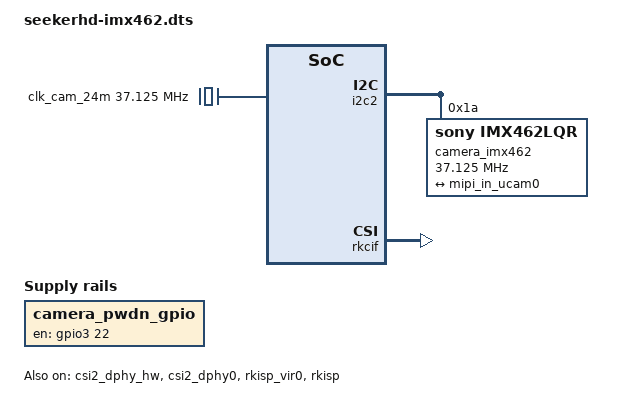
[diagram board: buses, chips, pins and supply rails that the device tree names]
/dts-v1/;
/plugin/;
/ {
	metadata {
		title = "Enable IMX462";
		compatible = "radxa,zero3";
		category = "camera";
		exclusive = "csi2_dphy0";
		description = "Enable IMX462";
	};
};

&{/} {
	clk_cam_24m: external-camera-clock-24m {
		status = "okay";
		compatible = "fixed-clock";
		clock-frequency = <37125000>;
		clock-output-names = "clk_cam_24m";
		#clock-cells = <0>;
	};

	camera_pwdn_gpio: camera-pwdn-gpio {
		status = "okay";
		compatible = "regulator-fixed";
		regulator-name = "camera_pwdn_gpio";
		regulator-always-on;
		regulator-boot-on;
		enable-active-high;
		gpio = <&gpio3 22 0>;
	};
};

&i2c2 {
	status = "okay";
	pinctrl-names = "default";
	pinctrl-0 = <&i2c2m1_xfer>;
	#address-cells = <1>;
	#size-cells = <0>;

	camera_imx462: camera-imx462@1a {
		status = "okay";
		compatible = "sony,imx462lqr";
		reg = <0x1a>;
		clocks = <&clk_cam_24m>;
		clock-frequency = <37125000>;
		clock-names = "xclk";
		rockchip,camera-module-index = <0>;
		rockchip,camera-module-facing = "back";
		rockchip,camera-module-name = "IMX462";
		rockchip,camera-module-lens-name = "default";

		port {
			ucam_out0: endpoint {
				remote-endpoint = <&mipi_in_ucam0>;
				clock-lanes = <0>;
				data-lanes = <1 2>;
				link-frequencies = /bits/ 64 <445500000 297000000>; 
			};
		};
	};
};

&csi2_dphy_hw {
	status = "okay";
};

&csi2_dphy0 {
	status = "okay";

	ports {
		#address-cells = <1>;
		#size-cells = <0>;

		port@0 {
			reg = <0>;
			#address-cells = <1>;
			#size-cells = <0>;

			mipi_in_ucam0: endpoint@1 {
				reg = <1>;
				remote-endpoint = <&ucam_out0>;
				clock-lanes = <0>;
				data-lanes = <1 2>;
			};
		};

		port@1 {
			reg = <1>;
			#address-cells = <1>;
			#size-cells = <0>;

			dphy0_out: endpoint@1 {
				reg = <1>;
				remote-endpoint = <&isp0_in>;
			};
		};
	};
};

&rkisp_vir0 {
	status = "okay";

	port {
		#address-cells = <1>;
		#size-cells = <0>;

		isp0_in: endpoint@0 {
			reg = <0>;
			remote-endpoint = <&dphy0_out>;
		};
	};
};

&rkisp {
	status = "okay";
};

&rkisp_mmu {
	status = "okay";
};

&rkcif_mmu {
	status = "okay";
};

&rkcif {
	status = "okay";
};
